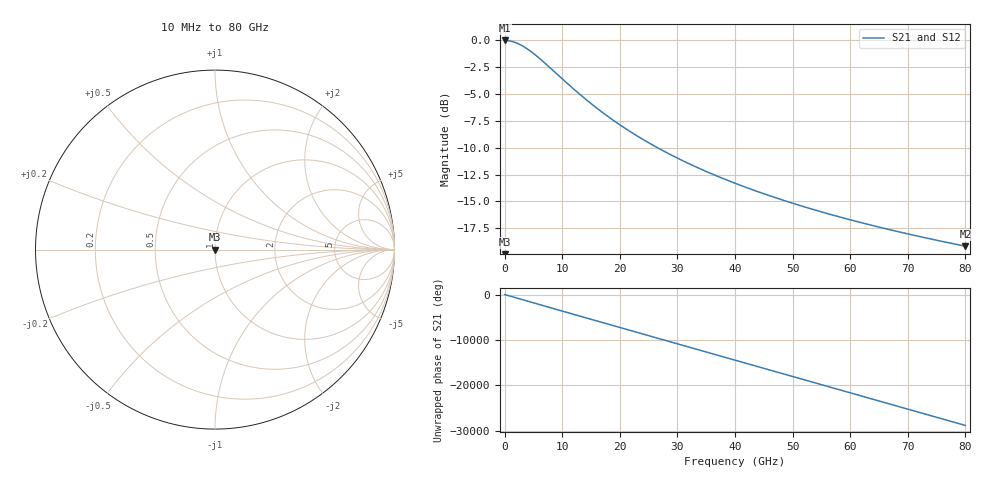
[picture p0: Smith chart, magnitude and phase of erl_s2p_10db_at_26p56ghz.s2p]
! F04 synthetic matched S2P ERL fixture
# Hz S RI R 50
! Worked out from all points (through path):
!   8000 points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, 10 MHz to 80 GHz, reference 50 ohm
!   highest |S21| = 0.00 dB at 10 MHz (marker M1); lowest = -19.2 dB at 80 GHz (marker M2)
!   lowest |S11| = - dB at 10 MHz (marker M3), VSWR 1.00, Z = 50 + j0 ohm
!   |S11| at or under -10 dB: start of sweep to end of sweep
!   |S22| runs from - to - dB; largest |S21 - S12| = 0
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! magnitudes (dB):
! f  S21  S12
! 10 MHz  0.0  0.0
! 1.02 GHz  -0.1  -0.1
! 2.05 GHz  -0.2  -0.2
! 3.14 GHz  -0.5  -0.5
! 4.32 GHz  -0.9  -0.9
! 6.49 GHz  -1.9  -1.9
! 11.08 GHz  -4.1  -4.1
! 13.35 GHz  -5.2  -5.2
! 16.51 GHz  -6.5  -6.5
! 19.73 GHz  -7.8  -7.8
! 23.11 GHz  -8.9  -8.9
! 26.68 GHz  -10.0  -10.0
! 29.75 GHz  -10.9  -10.9
! 32.99 GHz  -11.7  -11.7
! 36.41 GHz  -12.5  -12.5
! 40.01 GHz  -13.3  -13.3
! 46.39 GHz  -14.5  -14.5
! 53.34 GHz  -15.7  -15.7
! 59.77 GHz  -16.7  -16.7
! 66.67 GHz  -17.6  -17.6
! 73.67 GHz  -18.5  -18.5
! 80 GHz  -19.2  -19.2
